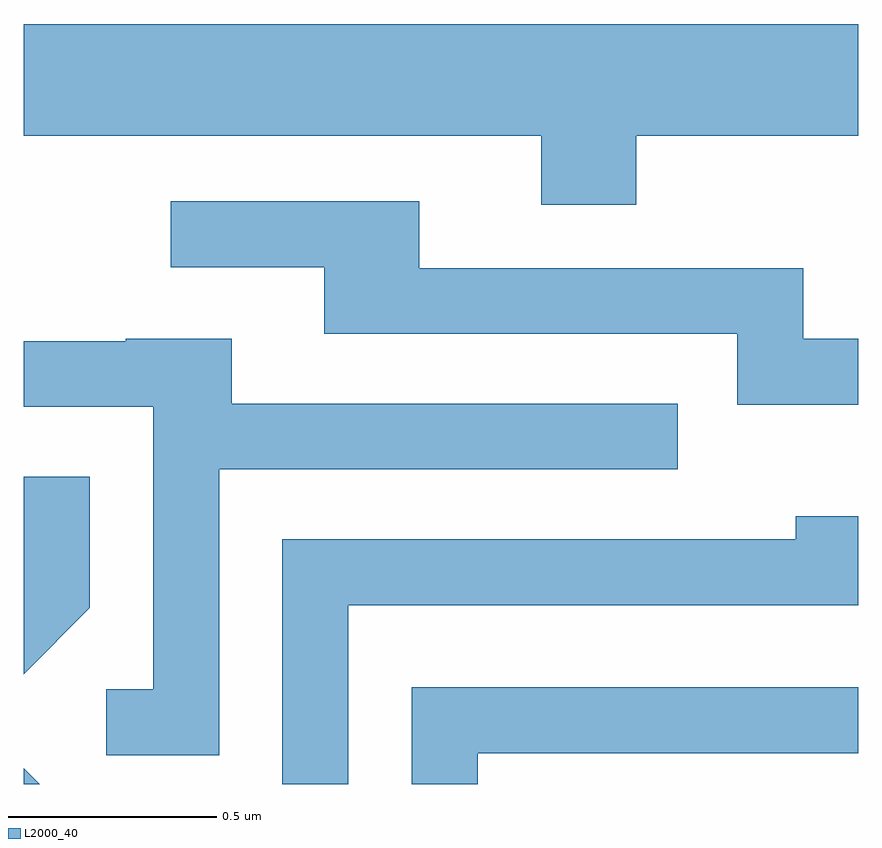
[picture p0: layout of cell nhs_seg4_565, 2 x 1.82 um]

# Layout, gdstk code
import gdstk
lib = gdstk.Library(unit=1e-6, precision=1e-09)
def P(c, l, *ps):  # polygons
    for p in ps: c.add(gdstk.Polygon(p, *l))
L2000_40 = (2000, 40)

nhs_seg4_565 = lib.new_cell('nhs_seg4_565')
P(nhs_seg4_565, L2000_40, [(191.079,1272.536),(191.611,1272.536),(191.611,1272.804),(189.611,1272.804),(189.611,1272.536),(190.851,1272.536),(190.851,1272.371),(191.079,1272.371)],
  [(191.611,1272.049),(191.479,1272.049),(191.479,1272.219),(190.559,1272.219),(190.559,1272.379),(189.963,1272.379),(189.963,1272.221),(190.331,1272.221),(190.331,1272.061),(191.321,1272.061),(191.321,1271.891),(191.611,1271.891)],
  [(190.079,1271.736),(191.178,1271.736),(191.178,1271.894),(190.109,1271.894),(190.109,1272.049),(189.855,1272.049),(189.855,1272.044),(189.611,1272.044),(189.611,1271.886),(189.921,1271.886),(189.921,1271.209),(189.808,1271.209),(189.808,1271.051),(190.079,1271.051)],
  [(189.769,1271.404),(189.769,1271.718),(189.611,1271.718),(189.611,1271.245)],
  [(190.389,1271.411),(191.611,1271.411),(191.611,1271.624),(191.461,1271.624),(191.461,1271.569),(190.231,1271.569),(190.231,1270.982),(190.389,1270.982)],
  [(190.699,1271.056),(191.611,1271.056),(191.611,1271.214),(190.541,1271.214),(190.541,1270.982),(190.699,1270.982)],
  [(189.611,1271.02),(189.611,1270.982),(189.649,1270.982)])

lib.write_gds('nhs_seg4_565.gds')
